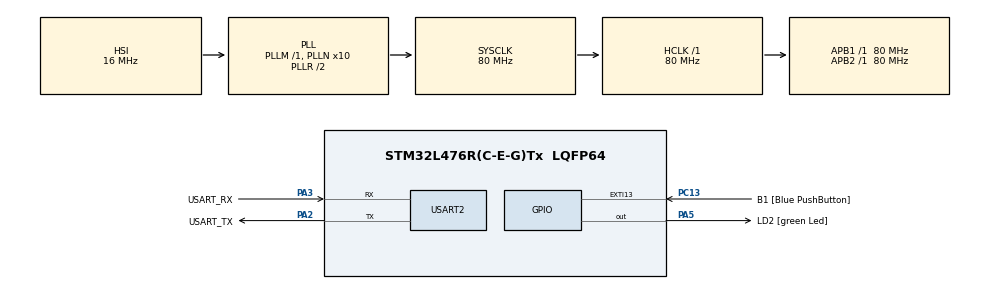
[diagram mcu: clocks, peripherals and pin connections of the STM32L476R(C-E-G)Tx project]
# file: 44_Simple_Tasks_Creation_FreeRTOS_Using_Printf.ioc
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FREERTOS.Tasks01=defaultTask,0,128,StartDefaultTask,Default,NULL,Dynamic,NULL,NULL
Mcu.Family=STM32L4
Mcu.Name=STM32L476R(C-E-G)Tx
Mcu.Package=LQFP64
NVIC.PriorityGroup=NVIC_PRIORITYGROUP_4
PA13\ (JTMS-SWDIO).GPIO_Label=TMS
PA13\ (JTMS-SWDIO).Mode=Serial_Wire
PA13\ (JTMS-SWDIO).Signal=SYS_JTMS-SWDIO
PA14\ (JTCK-SWCLK).GPIO_Label=TCK
PA14\ (JTCK-SWCLK).Mode=Serial_Wire
PA14\ (JTCK-SWCLK).Signal=SYS_JTCK-SWCLK
PA2.GPIO_Label=USART_TX
PA2.GPIO_Mode=GPIO_MODE_AF_PP
PA2.GPIO_PuPd=GPIO_NOPULL
PA2.GPIO_Speed=GPIO_SPEED_FREQ_VERY_HIGH
PA2.Mode=Asynchronous
PA2.Signal=USART2_TX
PA3.GPIO_Label=USART_RX
PA3.GPIO_Mode=GPIO_MODE_AF_PP
PA3.GPIO_PuPd=GPIO_NOPULL
PA3.GPIO_Speed=GPIO_SPEED_FREQ_VERY_HIGH
PA3.Mode=Asynchronous
PA3.Signal=USART2_RX
PA5.GPIO_Label=LD2 [green Led]
PA5.GPIO_ModeDefaultOutputPP=GPIO_MODE_OUTPUT_PP
PA5.GPIO_PuPd=GPIO_NOPULL
PA5.GPIO_Speed=GPIO_SPEED_FREQ_LOW
PA5.Signal=GPIO_Output
PB3\ (JTDO-TRACESWO).GPIO_Label=SWO
PB3\ (JTDO-TRACESWO).Signal=SYS_JTDO-SWO
PC13.GPIO_Label=B1 [Blue PushButton]
PC13.GPIO_ModeDefaultEXTI=GPIO_MODE_IT_FALLING
PC13.GPIO_PuPd=GPIO_NOPULL
PC13.Signal=GPXTI13
PC14-OSC32_IN\ (PC14).Mode=LSE-External-Oscillator
PC14-OSC32_IN\ (PC14).Signal=RCC_OSC32_IN
PC15-OSC32_OUT\ (PC15).Mode=LSE-External-Oscillator
PC15-OSC32_OUT\ (PC15).Signal=RCC_OSC32_OUT
PH0-OSC_IN\ (PH0).Signal=RCC_OSC_IN
PH1-OSC_OUT\ (PH1).Signal=RCC_OSC_OUT
ProjectManager.HeapSize=0x200
ProjectManager.StackSize=0x400
ProjectManager.TargetToolchain=STM32CubeIDE
RCC.ADCFreq_Value=64000000
RCC.AHBFreq_Value=80000000
RCC.APB1Freq_Value=80000000
RCC.APB1TimFreq_Value=80000000
RCC.APB2Freq_Value=80000000
RCC.APB2TimFreq_Value=80000000
RCC.CortexFreq_Value=80000000
RCC.HCLKFreq_Value=80000000
RCC.HSE_VALUE=8000000
RCC.HSI_VALUE=16000000
RCC.MSI_VALUE=4000000
RCC.PLLN=10
RCC.PLLSourceVirtual=RCC_PLLSOURCE_HSI
RCC.PREFETCH_ENABLE=1
RCC.SYSCLKFreq_VALUE=80000000
RCC.SYSCLKSource=RCC_SYSCLKSOURCE_PLLCLK
RCC.USBFreq_Value=64000000
RCC.VCOOutputFreq_Value=160000000
USART2.VirtualMode-Asynchronous=VM_ASYNC
VP_FREERTOS_VS_CMSIS_V1.Mode=CMSIS_V1
board=NUCLEO-L476RG

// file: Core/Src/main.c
/* USER CODE BEGIN Header */
/**
  ******************************************************************************
  * @file           : main.c
  * @brief          : Main program body
  ******************************************************************************
  * @attention
  *
  * Copyright (c) 2025 STMicroelectronics.
  * All rights reserved.
  *
  * This software is licensed under terms that can be found in the LICENSE file
  * in the root directory of this software component.
  * If no LICENSE file comes with this software, it is provided AS-IS.
  *
  ******************************************************************************
  */
/* USER CODE END Header */
#include "main.h"
#include "cmsis_os.h"
#include<stdio.h>

UART_HandleTypeDef huart2;

osThreadId defaultTaskHandle;
/* USER CODE BEGIN PV */
TaskHandle_t xTaskHandle1 = {0};
TaskHandle_t xTaskHandle2 = {0};
uint8_t switchState = RESET;
/* USER CODE END PV */

void SystemClock_Config(void);
static void MX_GPIO_Init(void);
static void MX_USART2_UART_Init(void);
void StartDefaultTask(void const * argument);

/* USER CODE BEGIN 0 */
int _write(int file,char *ptr,int len)
{
    int i=0;
    for(i=0;i<len;i++)
    	ITM_SendChar((*ptr++));
    return len;
}
/*
* Function Name : void task1Handle(void *para)
* Description   : This function is Task 1 handler
*/
void task1LEDHandle(void *para)
{
	uint32_t notifyVal = RESET;
	/* Infinite loop */
	while(1U)
	{
		if(xTaskNotifyWait(0, 0, &notifyVal, portMAX_DELAY) == pdTRUE)
		{
			HAL_GPIO_TogglePin(GPIOA, GPIO_PIN_5);
			//printf("%ld Times Notified \n",notifyVal);
			HAL_UART_Transmit(&huart2,"Notified...\n\r" , 13, portMAX_DELAY);
		}
	}
}
/*
* Function Name :  void task2Handle(void *para)
* Description   :  This function is Task 2 handler
*/
void task2SwitchHandle(void *para)
{
	while(1U)
	{
		if(!(HAL_GPIO_ReadPin(GPIOC, GPIO_PIN_13)))
		{
			/* toggle the  button status*/
			vTaskDelay(1000);
			xTaskNotify(xTaskHandle1,0,eIncrement);
		}
	}
}
/* USER CODE END 0 */

int main(void)
{

  /* MCU Configuration--------------------------------------------------------*/

  /* Reset of all peripherals, Initializes the Flash interface and the Systick. */
  HAL_Init();

  /* Configure the system clock */
  SystemClock_Config();

  /* Initialize all configured peripherals */
  MX_GPIO_Init();
  MX_USART2_UART_Init();

  /* Create the thread(s) */
  /* definition and creation of defaultTask */
  osThreadDef(defaultTask, StartDefaultTask, osPriorityNormal, 0, 128);
  defaultTaskHandle = osThreadCreate(osThread(defaultTask), NULL);

  /* USER CODE BEGIN RTOS_THREADS */
  /* Function call to create task 1*/
  xTaskCreate(task1LEDHandle, "LED Blink ", configMINIMAL_STACK_SIZE , NULL, 0, &xTaskHandle1);
  /* Function call to create task 2*/
  xTaskCreate(task2SwitchHandle, "Switch Status ", configMINIMAL_STACK_SIZE , NULL, 0, &xTaskHandle2);
  /* USER CODE END RTOS_THREADS */

  /* Start scheduler */
  osKernelStart();

  /* We should never get here as control is now taken by the scheduler */

  /* Infinite loop */
  while (1)
  {

  }
}

void SystemClock_Config(void)
{
  RCC_OscInitTypeDef RCC_OscInitStruct = {0};
  RCC_ClkInitTypeDef RCC_ClkInitStruct = {0};

  /** Configure the main internal regulator output voltage
  */
  if (HAL_PWREx_ControlVoltageScaling(PWR_REGULATOR_VOLTAGE_SCALE1) != HAL_OK)
  {
    Error_Handler();
  }

  /** Initializes the RCC Oscillators according to the specified parameters
  * in the RCC_OscInitTypeDef structure.
  */
  RCC_OscInitStruct.OscillatorType = RCC_OSCILLATORTYPE_HSI;
  RCC_OscInitStruct.HSIState = RCC_HSI_ON;
  RCC_OscInitStruct.HSICalibrationValue = RCC_HSICALIBRATION_DEFAULT;
  RCC_OscInitStruct.PLL.PLLState = RCC_PLL_ON;
  RCC_OscInitStruct.PLL.PLLSource = RCC_PLLSOURCE_HSI;
  RCC_OscInitStruct.PLL.PLLM = 1;
  RCC_OscInitStruct.PLL.PLLN = 10;
  RCC_OscInitStruct.PLL.PLLP = RCC_PLLP_DIV7;
  RCC_OscInitStruct.PLL.PLLQ = RCC_PLLQ_DIV2;
  RCC_OscInitStruct.PLL.PLLR = RCC_PLLR_DIV2;
  if (HAL_RCC_OscConfig(&RCC_OscInitStruct) != HAL_OK)
  {
    Error_Handler();
  }

  /** Initializes the CPU, AHB and APB buses clocks
  */
  RCC_ClkInitStruct.ClockType = RCC_CLOCKTYPE_HCLK|RCC_CLOCKTYPE_SYSCLK
                              |RCC_CLOCKTYPE_PCLK1|RCC_CLOCKTYPE_PCLK2;
  RCC_ClkInitStruct.SYSCLKSource = RCC_SYSCLKSOURCE_PLLCLK;
  RCC_ClkInitStruct.AHBCLKDivider = RCC_SYSCLK_DIV1;
  RCC_ClkInitStruct.APB1CLKDivider = RCC_HCLK_DIV1;
  RCC_ClkInitStruct.APB2CLKDivider = RCC_HCLK_DIV1;

  if (HAL_RCC_ClockConfig(&RCC_ClkInitStruct, FLASH_LATENCY_4) != HAL_OK)
  {
    Error_Handler();
  }
}

static void MX_USART2_UART_Init(void)
{

  huart2.Instance = USART2;
  huart2.Init.BaudRate = 115200;
  huart2.Init.WordLength = UART_WORDLENGTH_8B;
  huart2.Init.StopBits = UART_STOPBITS_1;
  huart2.Init.Parity = UART_PARITY_NONE;
  huart2.Init.Mode = UART_MODE_TX_RX;
  huart2.Init.HwFlowCtl = UART_HWCONTROL_NONE;
  huart2.Init.OverSampling = UART_OVERSAMPLING_16;
  huart2.Init.OneBitSampling = UART_ONE_BIT_SAMPLE_DISABLE;
  huart2.AdvancedInit.AdvFeatureInit = UART_ADVFEATURE_NO_INIT;
  if (HAL_UART_Init(&huart2) != HAL_OK)
  {
    Error_Handler();
  }

}

static void MX_GPIO_Init(void)
{
  GPIO_InitTypeDef GPIO_InitStruct = {0};

  /* GPIO Ports Clock Enable */
  __HAL_RCC_GPIOC_CLK_ENABLE();
  __HAL_RCC_GPIOH_CLK_ENABLE();
  __HAL_RCC_GPIOA_CLK_ENABLE();
  __HAL_RCC_GPIOB_CLK_ENABLE();

  /*Configure GPIO pin Output Level */
  HAL_GPIO_WritePin(LD2_GPIO_Port, LD2_Pin, GPIO_PIN_RESET);

  /*Configure GPIO pin : B1_Pin */
  GPIO_InitStruct.Pin = B1_Pin;
  GPIO_InitStruct.Mode = GPIO_MODE_IT_FALLING;
  GPIO_InitStruct.Pull = GPIO_NOPULL;
  HAL_GPIO_Init(B1_GPIO_Port, &GPIO_InitStruct);

  /*Configure GPIO pin : LD2_Pin */
  GPIO_InitStruct.Pin = LD2_Pin;
  GPIO_InitStruct.Mode = GPIO_MODE_OUTPUT_PP;
  GPIO_InitStruct.Pull = GPIO_NOPULL;
  GPIO_InitStruct.Speed = GPIO_SPEED_FREQ_LOW;
  HAL_GPIO_Init(LD2_GPIO_Port, &GPIO_InitStruct);

}

void StartDefaultTask(void const * argument)
{
  for(;;)
  {
    osDelay(1);
  }
}

void Error_Handler(void)
{
  __disable_irq();
  while (1)
  {
  }
}
